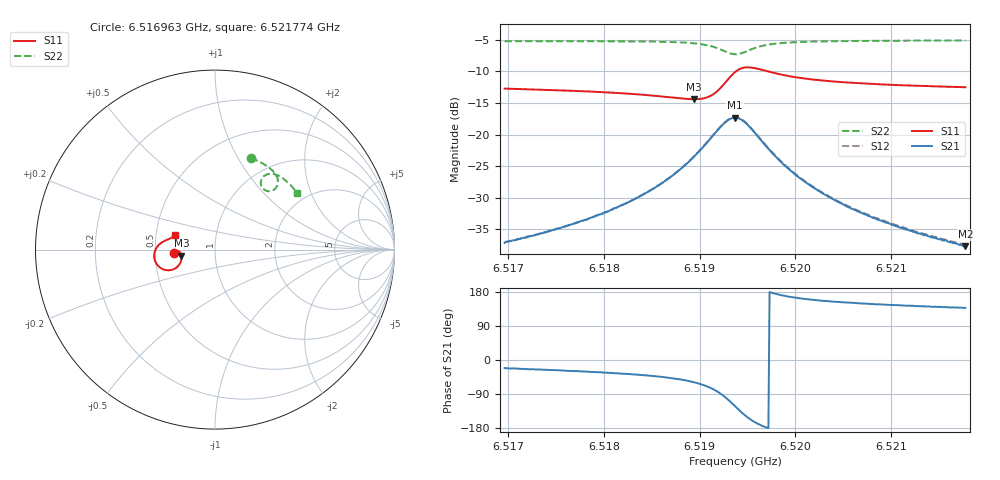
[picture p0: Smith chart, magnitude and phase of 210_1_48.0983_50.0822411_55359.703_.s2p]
#  HZ  S  RI  R  50.00
! Rohde & Schwarz Vector Network Analyzer
! Rohde-Schwarz,ZNB20-2Port,1311601062101988,3.16
! Created: UTC 12/23/2023, 3:55:39 AM
! freq[Hz]  re:S11  im:S11  re:S21  im:S21  re:S12  im:S12  re:S22  im:S22
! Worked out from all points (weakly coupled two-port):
!   401 points, 6.516963 GHz to 6.521774 GHz, reference 50 ohm
!   highest |S21| = -17.33 dB at 6.519368 GHz (marker M1); lowest = -37.7 dB at 6.521774 GHz (marker M2)
!   lowest |S11| = -14.4 dB at 6.518935 GHz (marker M3), VSWR 1.47, Z = 34.1 - j2.39 ohm
!   |S11| at or under -10 dB: start of sweep to 6.519378 GHz; 6.519712 GHz to end of sweep
!   |S22| runs from -7.3 to -5.1 dB; largest |S21 - S12| = 0.0042
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6.5169629e9  -0.2304 -0.0178  0.013 -0.00507  0.0132 -0.00471  0.2005 0.5102
6.5174199e9  -0.2255 -0.0112  0.0155 -0.00769  0.0156 -0.007  0.2343 0.4961
6.5177687e9  -0.2204 -0.00707  0.018 -0.0105  0.0183 -0.00983  0.2601 0.4832
6.5182137e9  -0.2118 -0.00502  0.0227 -0.0166  0.0232 -0.016  0.2934 0.4622
6.5185745e9  -0.2012 -0.00924  0.0288 -0.0277  0.0297 -0.0268  0.3213 0.439
6.518767e9  -0.1938 -0.0178  0.0326 -0.0389  0.034 -0.0382  0.3362 0.4212
6.5189353e9  -0.1876 -0.0337  0.0347 -0.0565  0.0367 -0.0557  0.3474 0.3984
6.5190556e9  -0.1871 -0.0544  0.0316 -0.0767  0.0341 -0.0762  0.3506 0.3755
6.5191398e9  -0.194 -0.0756  0.0222 -0.096  0.0254 -0.0961  0.3461 0.3553
6.5192721e9  -0.2358 -0.1114  -0.0208 -0.1243  -0.0172 -0.1259  0.314 0.327
6.5193202e9  -0.2633 -0.1153  -0.046 -0.1249  -0.0426 -0.1274  0.2943 0.3257
6.5193683e9  -0.2929 -0.108  -0.0717 -0.1156  -0.0688 -0.1185  0.2747 0.3339
6.5194164e9  -0.3178 -0.0897  -0.0917 -0.0969  -0.0896 -0.1004  0.2607 0.3496
6.5194766e9  -0.3354 -0.0586  -0.104 -0.0679  -0.1029 -0.0716  0.2553 0.3735
6.5195848e9  -0.3345 -0.00877  -0.098 -0.0255  -0.0981 -0.0285  0.2695 0.406
6.5196931e9  -0.3183 0.0204  -0.0808 -0.00302  -0.0814 -0.00565  0.2923 0.4198
6.5199216e9  -0.2878 0.0451  -0.0527 0.0117  -0.0537 0.0101  0.3312 0.4199
6.5201742e9  -0.2675 0.0544  -0.036 0.0138  -0.0369 0.0129  0.36 0.4087
6.520535e9  -0.2513 0.0614  -0.0237 0.0128  -0.0246 0.0123  0.3898 0.3882
6.52098e9  -0.2386 0.0679  -0.0163 0.0112  -0.0168 0.0108  0.4183 0.362
6.5213048e9  -0.2318 0.0724  -0.0129 0.0102  -0.0134 0.00988  0.4363 0.3423
6.5217738e9  -0.2237 0.0787  -0.00969 0.00879  -0.0102 0.00876  0.4595 0.3133
